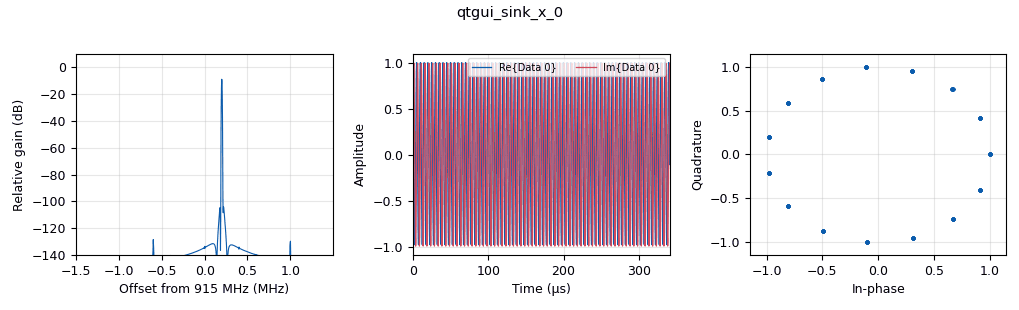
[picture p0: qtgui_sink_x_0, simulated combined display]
options:
  parameters:
    generate_options: qt_gui
    id: USRP_Tx
    output_language: python
    title: Not titled yet
  states: {}

blocks:
- name: analog_sig_source_x_0
  id: analog_sig_source_x
  parameters:
    amp: '1'
    freq: 2e5
    offset: '0'
    phase: '0'
    samp_rate: samp_rate
    type: complex
    waveform: analog.GR_COS_WAVE
  states: {}
- name: fc
  id: parameter
  parameters:
    label: Center Frequency
    short_id: c
    type: eng_float
    value: 915e6
  states: {}
- name: node
  id: parameter
  parameters:
    label: Node Number
    short_id: n
    type: str
    value: '175'
  states: {}
- name: qtgui_sink_x_0
  id: qtgui_sink_x
  parameters:
    bw: samp_rate
    fc: fc
    fftsize: '1024'
    type: complex
  states: {}
- name: samp_rate
  id: parameter
  parameters:
    label: Sample Rate
    short_id: r
    type: eng_float
    value: 3e6
  states: {}
- name: tx_addr
  id: parameter
  parameters:
    label: Tx Adress
    short_id: t
    type: str
    value: 318C679
  states: {}
- name: tx_gain
  id: parameter
  parameters:
    label: Transmission Gain
    short_id: g
    type: eng_float
    value: '40'
  states: {}
- name: uhd_usrp_sink_0
  id: uhd_usrp_sink
  parameters:
    ant0: '"TX/RX"'
    center_freq0: fc
    dev_addr: '"serial = 318C679"'
    gain0: tx_gain
    samp_rate: samp_rate
    sync: sync
    type: fc32
  states: {}
- name: xmlrpc_server_0
  id: xmlrpc_server
  parameters:
    addr: 10.1.1.175
    port: '8080'
  states: {state: disabled}

connections:
- [analog_sig_source_x_0, '0', qtgui_sink_x_0, '0']
- [analog_sig_source_x_0, '0', uhd_usrp_sink_0, '0']

metadata:
  file_format: 1
  grc_version: 3.10.12.0
